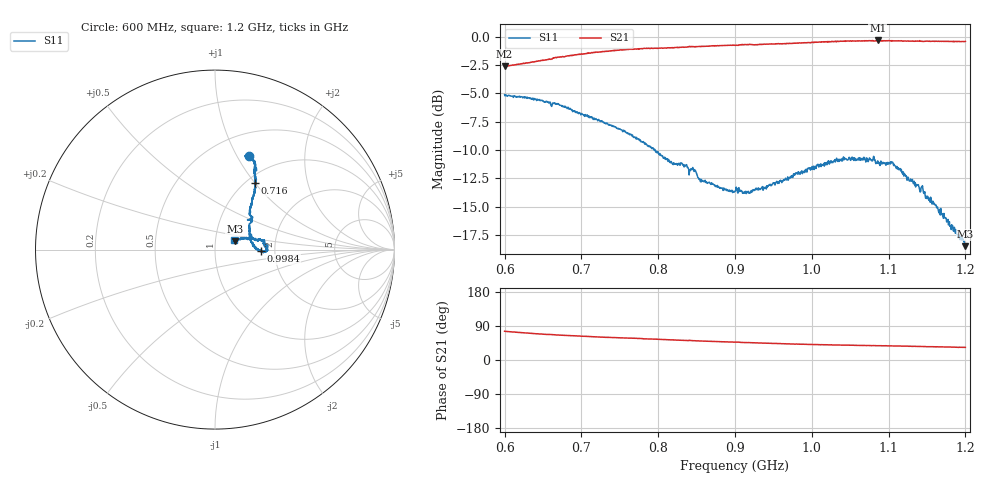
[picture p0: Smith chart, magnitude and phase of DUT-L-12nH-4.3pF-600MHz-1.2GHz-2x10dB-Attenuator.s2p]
# HZ S RI R 50
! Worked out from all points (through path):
!   1010 points, 600 MHz to 1.2 GHz, reference 50 ohm
!   highest |S21| = -0.34 dB at 1.086 GHz (marker M1); lowest = -2.6 dB at 600 MHz (marker M2)
!   lowest |S11| = -18.5 dB at 1.199 GHz (marker M3), VSWR 1.27, Z = 62 + j5.84 ohm
!   |S11| at or under -10 dB: 794.8507 MHz to 795.3305 MHz (479.8 kHz wide, 0.0603 % of centre); 795.8 MHz to end of sweep
!   S12 and S22 are empty: the file has one direction only
!   S11 on the Smith chart (normalised r, x): 600 MHz: 0.74, +1.12; 716 MHz: 1.10, +1.00; 998.4 MHz: 1.69, -0.03; 1.2 GHz: 1.23, +0.13
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6e8  0.1871 0.5219  0.181 0.7165  0 0  0 0
6.309217e8  0.22 0.4896  0.2494 0.7246  0 0  0 0
6.677899e8  0.2237 0.4517  0.326 0.7379  0 0  0 0
7.004955e8  0.23 0.3959  0.3843 0.7453  0 0  0 0
7.159564e8  0.223 0.3694  0.4076 0.7461  0 0  0 0
7.575817e8  0.2166 0.312  0.4634 0.7425  0 0  0 0
8.003964e8  0.1948 0.2349  0.5159 0.7229  0 0  0 0
8.170465e8  0.1936 0.2024  0.5371 0.7139  0 0  0 0
8.455896e8  0.203 0.1619  0.57 0.7008  0 0  0 0
8.568879e8  0.1898 0.1335  0.5815 0.693  0 0  0 0
9.002972e8  0.1978 0.0643  0.6162 0.6745  0 0  0 0
9.17542e8  0.2012 0.0506  0.641 0.6627  0 0  0 0
9.39544e8  0.2143 0.0222  0.6595 0.6482  0 0  0 0
9.984142e8  0.2574 -0.00758  0.709 0.6192  0 0  0 0
1.000198e9  0.2666 -0.0137  0.7133 0.6199  0 0  0 0
1.042418e9  0.2865 -0.00118  0.7402 0.6028  0 0  0 0
1.078097e9  0.2842 0.0227  0.7553 0.5878  0 0  0 0
1.085827e9  0.2814 0.0296  0.7605 0.5879  0 0  0 0
1.100099e9  0.2736 0.0429  0.7632 0.5803  0 0  0 0
1.144698e9  0.1986 0.0777  0.7741 0.5551  0 0  0 0
1.199405e9  0.1095 0.0464  0.795 0.5213  0 0  0 0
1.2e9  0.1079 0.0513  0.7951 0.5239  0 0  0 0
